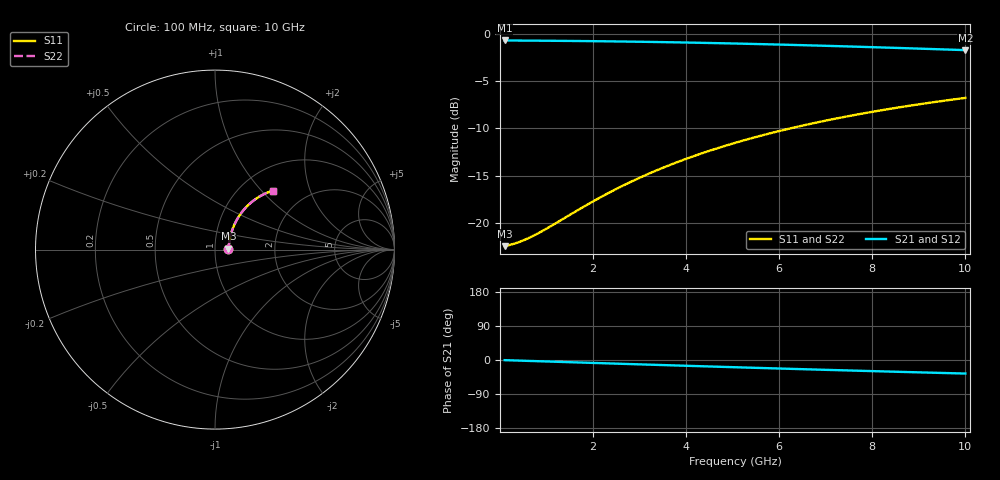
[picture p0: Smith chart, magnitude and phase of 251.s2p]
# Hz S RI R 50.00
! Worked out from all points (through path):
!   100 points, 100 MHz to 10 GHz, reference 50 ohm
!   highest |S21| = -0.68 dB at 100 MHz (marker M1); lowest = -1.7 dB at 10 GHz (marker M2)
!   group delay of S21, straight-line fit = 9.97 ps
!   lowest |S11| = -22.5 dB at 100 MHz (marker M3), VSWR 1.16, Z = 58.1 + j0.555 ohm
!   |S11| at or under -10 dB: start of sweep to 6.234 GHz
!   |S22| runs from -22.5 to -6.8 dB; largest |S21 - S12| = 0
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1e8  0.0751 0.00475  0.9249 -0.00625  0.9249 -0.00625  0.0751 0.00475
3e8  0.0761 0.0142  0.9239 -0.0187  0.9239 -0.0187  0.0761 0.0142
4e8  0.0766 0.0189  0.9234 -0.0249  0.9234 -0.0249  0.0766 0.0189
5e8  0.0771 0.0237  0.9228 -0.0312  0.9228 -0.0312  0.0771 0.0237
7e8  0.0783 0.0331  0.9216 -0.0436  0.9216 -0.0436  0.0783 0.0331
1e9  0.0804 0.0471  0.9195 -0.0621  0.9195 -0.0621  0.0804 0.0471
1.8e9  0.0883 0.0838  0.9113 -0.1108  0.9113 -0.1108  0.0883 0.0838
2.2e9  0.0936 0.1018  0.9058 -0.1348  0.9058 -0.1348  0.0936 0.1018
2.6e9  0.0998 0.1193  0.8994 -0.1583  0.8994 -0.1583  0.0998 0.1193
3e9  0.1068 0.1364  0.8921 -0.1814  0.8921 -0.1814  0.1068 0.1364
3.4e9  0.1147 0.153  0.8839 -0.204  0.8839 -0.204  0.1147 0.153
3.8e9  0.1233 0.169  0.8749 -0.2261  0.8749 -0.2261  0.1233 0.169
4.2e9  0.1327 0.1844  0.8652 -0.2476  0.8652 -0.2476  0.1327 0.1844
4.6e9  0.1428 0.1993  0.8547 -0.2685  0.8547 -0.2685  0.1428 0.1993
5.1e9  0.1563 0.2169  0.8406 -0.2936  0.8406 -0.2936  0.1563 0.2169
5.5e9  0.1678 0.2302  0.8286 -0.313  0.8286 -0.313  0.1678 0.2302
5.9e9  0.1798 0.2427  0.8161 -0.3317  0.8161 -0.3317  0.1798 0.2427
6.7e9  0.2051 0.2657  0.7895 -0.3668  0.7895 -0.3668  0.2051 0.2657
7.5e9  0.232 0.2855  0.7613 -0.3989  0.7613 -0.3989  0.232 0.2855
8.4e9  0.2634 0.3043  0.7281 -0.4314  0.7281 -0.4314  0.2634 0.3043
9.2e9  0.292 0.3177  0.6978 -0.4572  0.6978 -0.4572  0.292 0.3177
1e10  0.3208 0.3282  0.667 -0.4802  0.667 -0.4802  0.3208 0.3282
